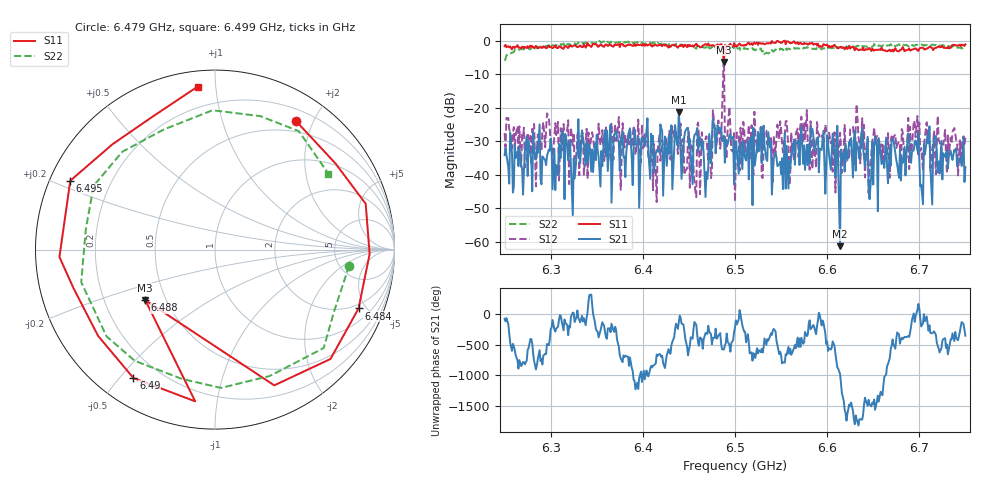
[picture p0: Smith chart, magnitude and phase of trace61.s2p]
# Hz S RI R 50
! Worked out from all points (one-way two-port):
!   401 points, 6.25 GHz to 6.75 GHz, reference 50 ohm
!   highest |S21| = -21.38 dB at 6.439 GHz (marker M1); lowest = -61.4 dB at 6.614 GHz (marker M2)
!   lowest |S11| = -6.4 dB at 6.488 GHz (marker M3), VSWR 2.84, Z = 19.2 - j14 ohm
!   |S11| at or under -10 dB: nowhere
!   |S22| runs from -6.0 to 0.0 dB; largest |S21 - S12| = 0.72
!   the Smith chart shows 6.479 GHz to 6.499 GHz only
!   S11 on the Smith chart (normalised r, x): 6.479 GHz: 0.35, +1.76; 6.484 GHz: 1.72, -4.45; 6.488 GHz: 0.38, -0.28; 6.49 GHz: 0.11, -0.54; 6.495 GHz: 0.06, +0.23; 6.499 GHz: 0.08, +0.90
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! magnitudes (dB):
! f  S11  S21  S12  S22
! 6.25 GHz  -1.6  -34.2  -27.6  -6.0
! 6.305 GHz  -1.5  -44.6  -24.7  -1.7
! 6.319 GHz  -2.2  -35.7  -23.8  -0.9
! 6.325 GHz  -1.4  -35.2  -27.6  -1.1
! 6.334 GHz  -2.0  -26.8  -27.3  -0.7
! 6.371 GHz  -1.4  -27.1  -29.9  -0.7
! 6.418 GHz  -1.3  -33.3  -28.2  -1.0
! 6.439 GHz  -1.7  -21.4  -31.0  -1.3
! 6.455 GHz  -1.9  -30.0  -37.7  -1.6
! 6.469 GHz  -1.3  -39.2  -28.6  -1.9
! 6.479 GHz  -1.5  -33.7  -27.0  -2.5
! 6.484 GHz  -1.3  -27.3  -32.3  -2.3
! 6.488 GHz  -6.4  -28.4  -2.9  -2.2
! 6.49 GHz  -1.4  -29.5  -32.8  -2.8
! 6.495 GHz  -1.0  -27.9  -26.1  -2.2
! 6.499 GHz  -0.8  -42.9  -27.6  -2.4
! 6.5 GHz  -1.8  -32.7  -48.2  -2.7
! 6.558 GHz  -0.3  -44.2  -32.0  -2.4
! 6.584 GHz  -0.7  -26.4  -38.3  -2.4
! 6.614 GHz  -2.0  -61.4  -27.5  -2.1
! 6.668 GHz  -2.7  -31.9  -40.9  -1.5
! 6.75 GHz  -1.2  -37.8  -29.0  -2.2
